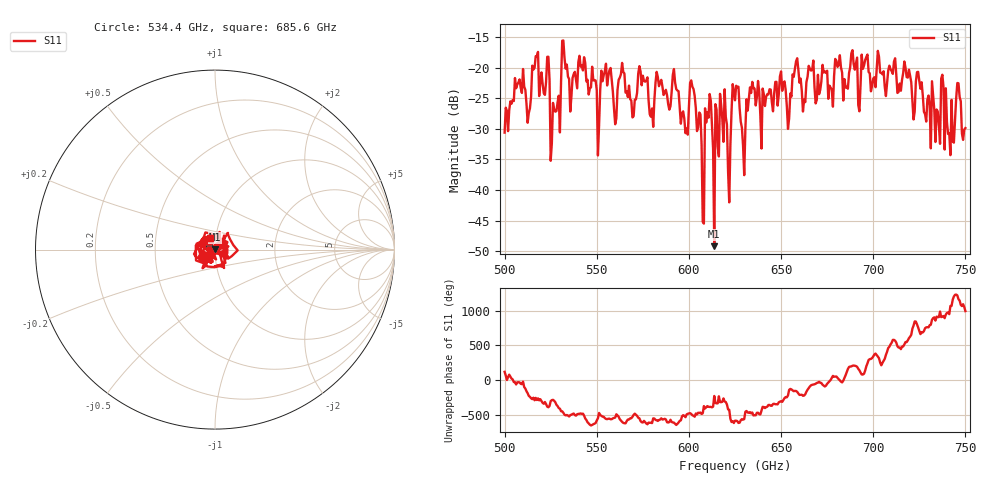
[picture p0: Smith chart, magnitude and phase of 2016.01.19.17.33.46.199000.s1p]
!Created with skrf (http://scikit-rf.org).
# GHz S RI R 50.0
!freq ReS11 ImS11
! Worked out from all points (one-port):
!   401 points, 500 GHz to 750 GHz, reference 50 ohm
!   lowest |S11| = -49.2 dB at 613.8 GHz (marker M1), VSWR 1.01, Z = 49.8 + j0.255 ohm
!   |S11| at or under -10 dB: start of sweep to end of sweep
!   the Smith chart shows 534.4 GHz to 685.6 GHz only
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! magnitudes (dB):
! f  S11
! 500 GHz  -30.6
! 506.9 GHz  -22.8
! 513.1 GHz  -27.4
! 516.9 GHz  -18.1
! 523.1 GHz  -18.2
! 526.2 GHz  -25.8
! 531.2 GHz  -15.6
! 541.9 GHz  -19.6
! 550.6 GHz  -34.3
! 562.5 GHz  -21.6
! 579.4 GHz  -28.0
! 593.8 GHz  -23.7
! 598.1 GHz  -30.7
! 601.9 GHz  -23.1
! 606.9 GHz  -32.6
! 610.6 GHz  -28.2
! 613.8 GHz  -49.2
! 618.1 GHz  -28.4
! 621.9 GHz  -42.0
! 625 GHz  -25.3
! 629.4 GHz  -32.8
! 634.4 GHz  -22.3
! 656.2 GHz  -21.1
! 687.5 GHz  -19.9
! 718.8 GHz  -21.6
! 742.5 GHz  -25.3
! 746.2 GHz  -22.6
! 750 GHz  -29.9
